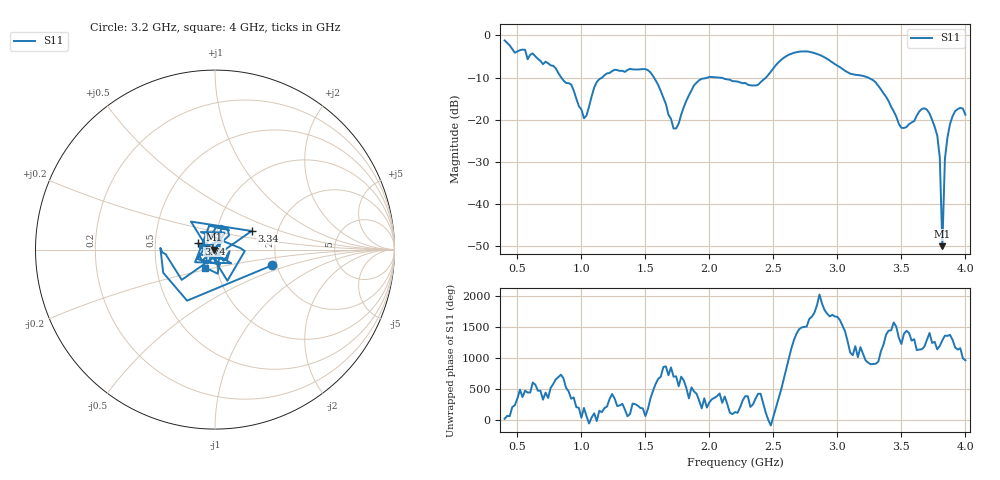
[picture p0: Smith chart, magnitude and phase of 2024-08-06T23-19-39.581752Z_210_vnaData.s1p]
!Created with skrf (http://scikit-rf.org).
# Hz S RI R 50.0
!freq ReS11 ImS11
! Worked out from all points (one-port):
!   181 points, 400 MHz to 4 GHz, reference 50 ohm
!   lowest |S11| = -50.1 dB at 3.82 GHz (marker M1), VSWR 1.01, Z = 49.7 - j0.121 ohm
!   |S11| at or under -10 dB: 1.567 GHz to 1.987 GHz (420.7 MHz wide, 23.7 % of centre); 2.079 GHz to 2.442 GHz (363.6 MHz wide, 16.1 % of centre); 3.24 GHz to end of sweep (the widest 3 of 4)
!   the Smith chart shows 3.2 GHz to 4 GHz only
!   S11 on the Smith chart (normalised r, x): 3.2 GHz: 1.89, -0.37; 3.34 GHz: 1.47, +0.32; 3.74 GHz: 0.83, +0.06; 4 GHz: 0.88, -0.18
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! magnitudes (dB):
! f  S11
! 400 MHz  -1.2
! 780 MHz  -7.2
! 860 MHz  -10.7
! 920 MHz  -11.6
! 1.02 GHz  -19.7
! 1.12 GHz  -11.1
! 1.3 GHz  -8.4
! 1.54 GHz  -8.8
! 1.72 GHz  -22.1
! 1.76 GHz  -20.9
! 1.92 GHz  -10.6
! 2.2 GHz  -10.9
! 2.38 GHz  -11.8
! 2.66 GHz  -4.1
! 3.1 GHz  -9.1
! 3.2 GHz  -9.6
! 3.34 GHz  -12.8
! 3.5 GHz  -21.9
! 3.56 GHz  -21.1
! 3.68 GHz  -17.3
! 3.74 GHz  -20.1
! 3.78 GHz  -23.8
! 3.8 GHz  -29.0
! 3.82 GHz  -50.1
! 3.84 GHz  -29.3
! 3.86 GHz  -24.2
! 3.92 GHz  -18.0
! 4 GHz  -18.8
